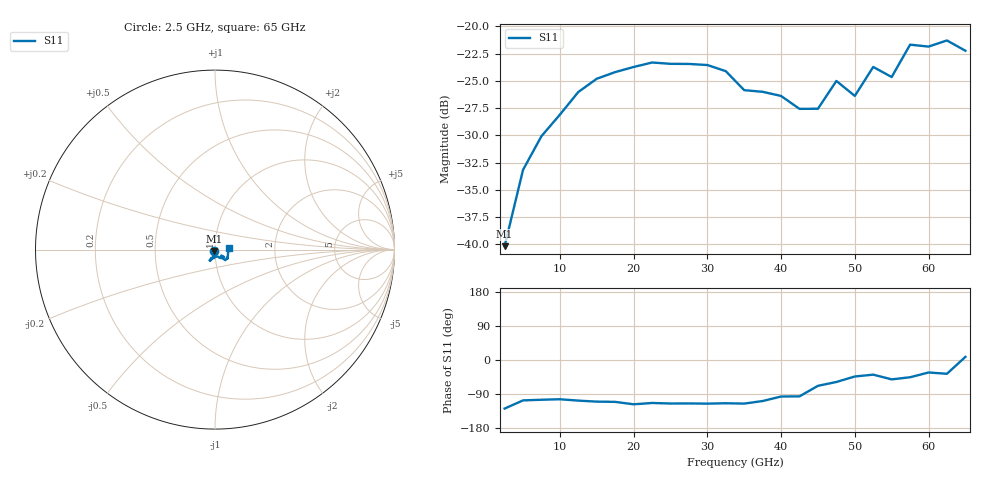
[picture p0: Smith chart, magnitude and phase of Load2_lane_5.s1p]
! File created by SignalIntegrity v1.5.1: Signal and Power Integrity Tools
! https://github.com/Nubis-Communications/SignalIntegrity
# MHz S MA R 50.0
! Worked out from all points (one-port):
!   26 points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, 2.5 GHz to 65 GHz, reference 50 ohm
!   lowest |S11| = -40.2 dB at 2.5 GHz (marker M1), VSWR 1.02, Z = 49.4 - j0.761 ohm
!   |S11| at or under -10 dB: start of sweep to end of sweep
2500  0.009791 -128.2
5000  0.02195 -106.6
7500  0.03135 -104.9
10000  0.03935 -103.6
12500  0.05001 -107.2
15000  0.05752 -109.9
17500  0.06171 -110.5
20000  0.06514 -116.9
22500  0.06829 -113.4
25000  0.06736 -114.8
27500  0.06726 -114.6
30000  0.0665 -115.2
32500  0.06233 -114.1
35000  0.05097 -115.0
37500  0.0501 -108.3
40000  0.04795 -96.4
42500  0.04183 -95.9
45000  0.04188 -68.1
47500  0.05619 -58.0
50000  0.04797 -43.5
52500  0.06516 -38.7
55000  0.05858 -51.1
57500  0.08249 -45.5
60000  0.08081 -33.0
62500  0.08623 -36.3
65000  0.07736 8.2
